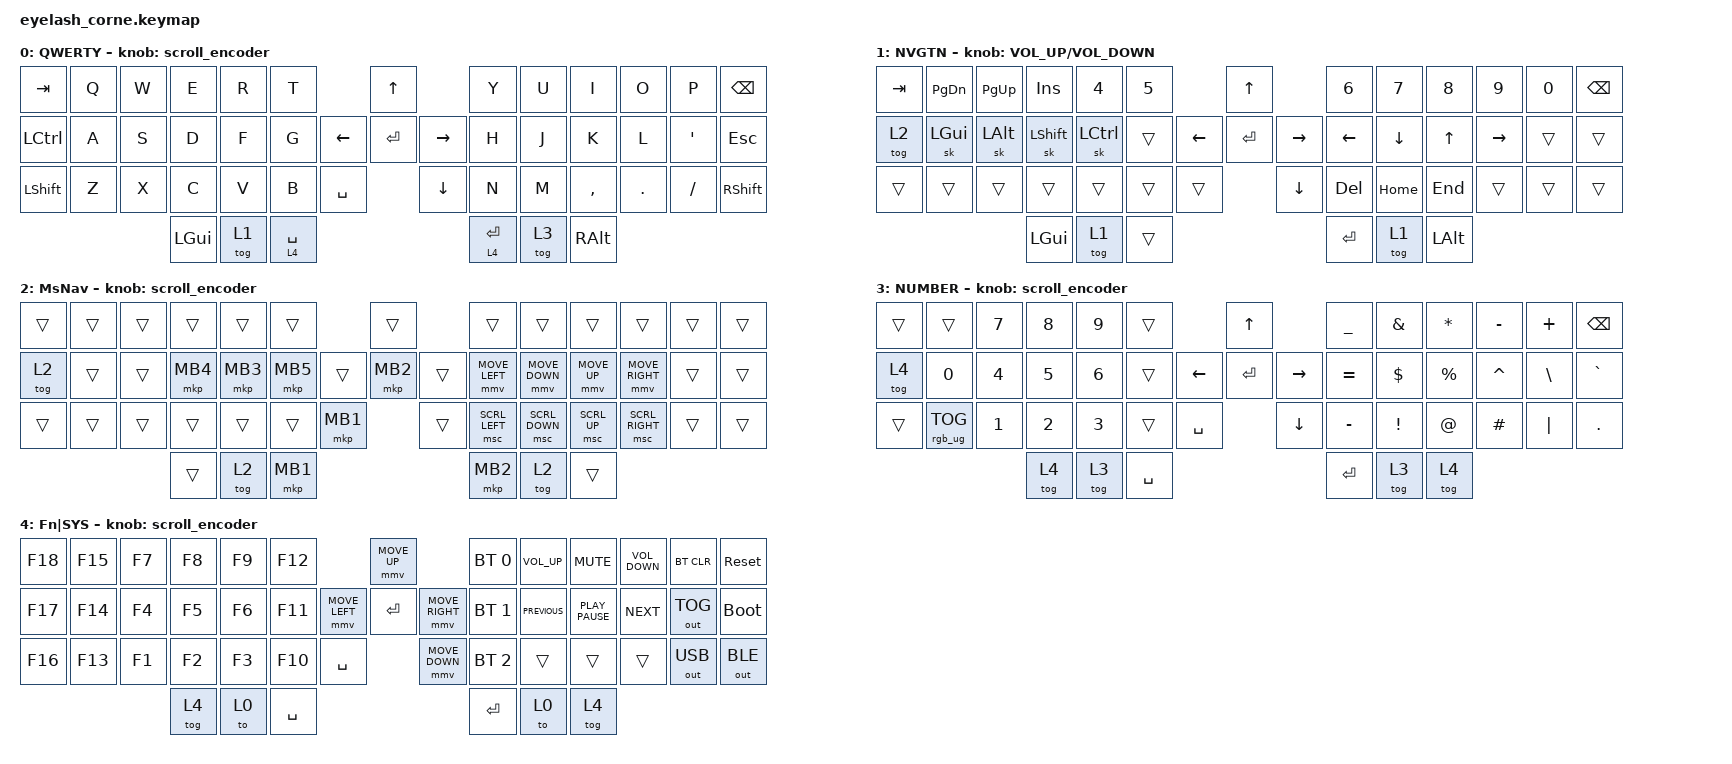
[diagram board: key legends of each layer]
#define ZMK_POINTING_DEFAULT_MOVE_VAL 1200  // 600
#define ZMK_POINTING_DEFAULT_SCRL_VAL 25   // 10

#include <input/processors.dtsi>
#include <zephyr/dt-bindings/input/input-event-codes.h>
#include <behaviors.dtsi>
#include <dt-bindings/zmk/bt.h>
#include <dt-bindings/zmk/keys.h>
#include <dt-bindings/zmk/outputs.h>
#include <dt-bindings/zmk/pointing.h>
#include <dt-bindings/zmk/rgb.h>

&mmv_input_listener { input-processors = <&zip_xy_scaler 2 1>; };

&msc_input_listener { input-processors = <&zip_scroll_scaler 2 1>; };

&msc {
    acceleration-exponent = <1>;      // 0
    time-to-max-speed-ms = <100>;       // 300
    delay-ms = <0>;                   // 0
};

&mmv {
    time-to-max-speed-ms = <500>;
    acceleration-exponent = <1>;
    trigger-period-ms = <16>;
};

/ {
    behaviors {
        td0: td0 {
            compatible = "zmk,behavior-tap-dance";
            display-name = "Shift/Caps Lock Tap Dance";
            #binding-cells = <0>;
            bindings = <&kp LEFT_SHIFT>, <&kp CAPS>;
        };
    };

    rgb_encoder: rgb_encoder {
        compatible = "zmk,behavior-sensor-rotate";
        #sensor-binding-cells = <0>;
        bindings = <&rgb_ug RGB_BRI>, <&rgb_ug RGB_BRD>;
    };

    scroll_encoder: scroll_encoder {
        compatible = "zmk,behavior-sensor-rotate";
        #sensor-binding-cells = <0>;
        bindings = <&msc SCRL_DOWN>, <&msc SCRL_UP>;

        tap-ms = <100>;
    };

    combos {
        compatible = "zmk,combos";

        cbLT {
            bindings = <&kp LT>;
            key-positions = <2 3>;
            layers = <0 3>;
        };

        cbLBrk {
            bindings = <&kp LEFT_BRACKET>;
            key-positions = <3 4>;
            layers = <0 3>;
        };

        cbAst {
            bindings = <&kp ASTERISK>;
            key-positions = <3 9>;
            layers = <0 3>;
        };

        cbPls {
            bindings = <&kp PLUS>;
            key-positions = <4 8>;
            layers = <0 3>;
        };

        cbRBrk {
            bindings = <&kp RIGHT_BRACKET>;
            key-positions = <8 9>;
            layers = <0 3>;
        };

        cbGT {
            bindings = <&kp GREATER_THAN>;
            key-positions = <9 10>;
            layers = <0 3>;
        };

        cbTld {
            bindings = <&kp TILDE>;
            key-positions = <14 15>;
            layers = <0 3>;
        };

        cbGrv {
            bindings = <&kp GRAVE>;
            key-positions = <15 16>;
            layers = <0 3>;
        };

        cbLPrts {
            bindings = <&kp LEFT_PARENTHESIS>;
            key-positions = <16 17>;
            layers = <0 3>;
        };

        cbDllr {
            bindings = <&kp DOLLAR>;
            key-positions = <16 24>;
            layers = <0 3>;
        };

        cbEql {
            bindings = <&kp EQUAL>;
            key-positions = <17 23>;
            layers = <0 3>;
        };

        cbAmpsd {
            bindings = <&kp AMPERSAND>;
            key-positions = <18 22>;
            layers = <0 3>;
        };

        cbRPrntss {
            bindings = <&kp RIGHT_PARENTHESIS>;
            key-positions = <23 24>;
            layers = <0 3>;
        };

        cbCln {
            bindings = <&kp COLON>;
            key-positions = <24 25>;
            layers = <0 3>;
        };

        cbBkslsh {
            bindings = <&kp BACKSLASH>;
            key-positions = <25 26>;
            layers = <0 3>;
        };

        cbPp {
            bindings = <&kp PIPE>;
            key-positions = <30 31>;
            layers = <0 3>;
        };

        cbLBrc {
            bindings = <&kp LEFT_BRACE>;
            key-positions = <31 32>;
            layers = <0 3>;
        };

        cbCpsLk {
            bindings = <&kp CAPSLOCK>;
            key-positions = <28 41>;
            layers = <0 3>;
        };

        cbExcl {
            bindings = <&kp EXCL>;
            key-positions = <31 38>;
            layers = <0 3>;
        };

        cbMns {
            bindings = <&kp MINUS>;
            key-positions = <32 37>;
            layers = <0 3>;
        };

        cbUndscr {
            bindings = <&kp UNDER>;
            key-positions = <33 36>;
            layers = <0 3>;
        };

        cbRBrc {
            bindings = <&kp RIGHT_BRACE>;
            key-positions = <37 38>;
            layers = <0 3>;
        };

        cbSmCln {
            bindings = <&kp SEMICOLON>;
            key-positions = <38 39>;
            layers = <0 3>;
        };
    };

    keymap {
        compatible = "zmk,keymap";

        default {
            display-name = "QWERTY";
            bindings = <
&kp TAB           &kp Q  &kp W  &kp E     &kp R   &kp T                               &kp UP                &kp Y        &kp U   &kp I      &kp O    &kp P     &kp BSPC
&kp LEFT_CONTROL  &kp A  &kp S  &kp D     &kp F   &kp G                     &kp LEFT  &kp ENTER  &kp RIGHT  &kp H        &kp J   &kp K      &kp L    &kp SQT   &kp ESC
&kp LEFT_SHIFT    &kp Z  &kp X  &kp C     &kp V   &kp B        &kp SPACE              &kp DOWN              &kp N        &kp M   &kp COMMA  &kp DOT  &kp FSLH  &kp RIGHT_SHIFT
                                &kp LGUI  &tog 1  &lt 4 SPACE                                               &lt 4 ENTER  &tog 3  &kp RALT
            >;

            sensor-bindings = <&scroll_encoder>;
            label = "qwerty";
        };

        Navegation {
            bindings = <
&kp TAB  &kp PG_DN     &kp PG_UP     &kp INS         &kp N4            &kp N5                      &kp UP               &kp N6    &kp N7    &kp N8    &kp N9     &kp N0  &kp BSPC
&tog 2   &sk LEFT_GUI  &sk LEFT_ALT  &sk LEFT_SHIFT  &sk LEFT_CONTROL  &trans            &kp LEFT  &kp RET   &kp RIGHT  &kp LEFT  &kp DOWN  &kp UP    &kp RIGHT  &trans  &trans
&trans   &trans        &trans        &trans          &trans            &trans  &trans              &kp DOWN             &kp DEL   &kp HOME  &kp END   &trans     &trans  &trans
                                     &kp LEFT_GUI    &tog 1            &trans                                           &kp RET   &tog 1    &kp LALT
            >;

            sensor-bindings = <&inc_dec_kp K_VOLUME_UP K_VOLUME_DOWN>;
            label = "NVGTN";
        };

        MsNavigation {
            bindings = <
&trans  &trans  &trans  &trans    &trans    &trans                        &trans            &trans          &trans          &trans        &trans           &trans  &trans
&tog 2  &trans  &trans  &mkp MB4  &mkp MB3  &mkp MB5              &trans  &mkp MB2  &trans  &mmv MOVE_LEFT  &mmv MOVE_DOWN  &mmv MOVE_UP  &mmv MOVE_RIGHT  &trans  &trans
&trans  &trans  &trans  &trans    &trans    &trans    &mkp MB1            &trans            &msc SCRL_LEFT  &msc SCRL_DOWN  &msc SCRL_UP  &msc SCRL_RIGHT  &trans  &trans
                        &trans    &tog 2    &mkp MB1                                        &mkp MB2        &tog 2          &trans
            >;

            sensor-bindings = <&scroll_encoder>;
            label = "MsNav";
        };

        Number {
            display-name = "NUMBER";
            bindings = <
&trans  &trans           &kp N7  &kp N8  &kp N9  &trans                            &kp UP               &kp UNDER  &kp AMPERSAND  &kp STAR     &kp MINUS  &kp PLUS  &kp BSPC
&tog 4  &kp N0           &kp N4  &kp N5  &kp N6  &trans                  &kp LEFT  &kp RET   &kp RIGHT  &kp EQUAL  &kp DLLR       &kp PERCENT  &kp CARET  &kp BSLH  &kp GRAVE
&trans  &rgb_ug RGB_TOG  &kp N1  &kp N2  &kp N3  &trans     &kp SPACE              &kp DOWN             &kp MINUS  &kp EXCL       &kp AT       &kp POUND  &kp PIPE  &kp DOT
                                 &tog 4  &tog 3  &kp SPACE                                              &kp RET    &tog 3         &tog 4
            >;

            sensor-bindings = <&scroll_encoder>;
        };

        Fn {
            display-name = "Fn|SYS";
            bindings = <
&kp F18  &kp F15  &kp F7  &kp F8  &kp F9  &kp F12                                 &mmv MOVE_UP                     &bt BT_SEL 0  &kp K_VOLUME_UP  &kp K_MUTE        &kp K_VOLUME_DOWN  &bt BT_CLR    &sys_reset
&kp F17  &kp F14  &kp F4  &kp F5  &kp F6  &kp F11                 &mmv MOVE_LEFT  &kp RET         &mmv MOVE_RIGHT  &bt BT_SEL 1  &kp K_PREVIOUS   &kp K_PLAY_PAUSE  &kp K_NEXT         &out OUT_TOG  &bootloader
&kp F16  &kp F13  &kp F1  &kp F2  &kp F3  &kp F10    &kp SPACE                    &mmv MOVE_DOWN                   &bt BT_SEL 2  &trans           &trans            &trans             &out OUT_USB  &out OUT_BLE
                          &tog 4  &to 0   &kp SPACE                                                                &kp RET       &to 0            &tog 4
            >;

            sensor-bindings = <&scroll_encoder>;
        };
    };
};
